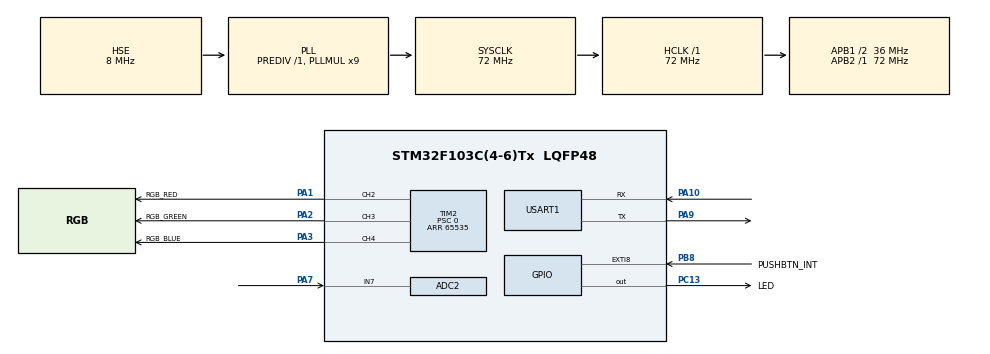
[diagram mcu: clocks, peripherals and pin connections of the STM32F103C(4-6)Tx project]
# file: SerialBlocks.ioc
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ADC1.Channel-2\#ChannelRegularConversion=ADC_CHANNEL_TEMPSENSOR
ADC1.ContinuousConvMode=ENABLE
ADC1.NbrOfConversionFlag=1
ADC1.Rank-2\#ChannelRegularConversion=1
ADC1.SamplingTime-2\#ChannelRegularConversion=ADC_SAMPLETIME_1CYCLE_5
ADC1.master=1
ADC2.Channel-0\#ChannelRegularConversion=ADC_CHANNEL_7
ADC2.ContinuousConvMode=ENABLE
ADC2.NbrOfConversionFlag=1
ADC2.Rank-0\#ChannelRegularConversion=1
ADC2.SamplingTime-0\#ChannelRegularConversion=ADC_SAMPLETIME_71CYCLES_5
Mcu.Family=STM32F1
Mcu.Name=STM32F103C(4-6)Tx
Mcu.Package=LQFP48
NVIC.EXTI9_5_IRQn=true\:0\:0\:false\:false\:true\:true\:true\:true
NVIC.PriorityGroup=NVIC_PRIORITYGROUP_4
NVIC.USART1_IRQn=true\:0\:0\:false\:false\:true\:true\:true\:true
PA1.GPIO_Label=RGB_RED
PA1.Signal=S_TIM2_CH2
PA10.Mode=Asynchronous
PA10.Signal=USART1_RX
PA13.Mode=Serial_Wire
PA13.Signal=SYS_JTMS-SWDIO
PA14.Mode=Serial_Wire
PA14.Signal=SYS_JTCK-SWCLK
PA2.GPIO_Label=RGB_GREEN
PA2.Signal=S_TIM2_CH3
PA3.GPIO_Label=RGB_BLUE
PA3.Signal=S_TIM2_CH4
PA7.Signal=ADCx_IN7
PA9.Mode=Asynchronous
PA9.Signal=USART1_TX
PB8.GPIO_Label=PUSHBTN_INT
PB8.GPIO_ModeDefaultEXTI=GPIO_MODE_IT_FALLING
PB8.Signal=GPXTI8
PC13-TAMPER-RTC.GPIO_Label=LED
PC13-TAMPER-RTC.Signal=GPIO_Output
PD0-OSC_IN.Mode=HSE-External-Oscillator
PD0-OSC_IN.Signal=RCC_OSC_IN
PD1-OSC_OUT.Mode=HSE-External-Oscillator
PD1-OSC_OUT.Signal=RCC_OSC_OUT
ProjectManager.HeapSize=0x200
ProjectManager.StackSize=0x400
ProjectManager.TargetToolchain=STM32CubeIDE
RCC.ADCPresc=RCC_ADCPCLK2_DIV6
RCC.AHBFreq_Value=72000000
RCC.APB1CLKDivider=RCC_HCLK_DIV2
RCC.APB1Freq_Value=36000000
RCC.APB1TimFreq_Value=72000000
RCC.APB2Freq_Value=72000000
RCC.APB2TimFreq_Value=72000000
RCC.HCLKFreq_Value=72000000
RCC.PLLMUL=RCC_PLL_MUL9
RCC.PLLSourceVirtual=RCC_PLLSOURCE_HSE
RCC.SYSCLKFreq_VALUE=72000000
RCC.SYSCLKSource=RCC_SYSCLKSOURCE_PLLCLK
RCC.USBFreq_Value=48000000
RCC.USBPrescaler=RCC_USBCLKSOURCE_PLL_DIV1_5
SH.ADCx_IN7.0=ADC2_IN7,IN7
SH.S_TIM2_CH2.0=TIM2_CH2,PWM Generation2 CH2
SH.S_TIM2_CH3.0=TIM2_CH3,PWM Generation3 CH3
SH.S_TIM2_CH4.0=TIM2_CH4,PWM Generation4 CH4
TIM2.AutoReloadPreload=TIM_AUTORELOAD_PRELOAD_ENABLE
TIM2.Channel-PWM\ Generation2\ CH2=TIM_CHANNEL_2
TIM2.Channel-PWM\ Generation3\ CH3=TIM_CHANNEL_3
TIM2.Channel-PWM\ Generation4\ CH4=TIM_CHANNEL_4
TIM2.Period=65535
TIM2.Prescaler=0
USART1.VirtualMode=VM_ASYNC
VP_ADC1_TempSens_Input.Mode=IN-TempSens
VP_TIM2_VS_ClockSourceINT.Mode=Internal
board=custom

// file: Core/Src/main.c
/* USER CODE BEGIN Header */

/* USER CODE END Header */
#include "main.h"

/* USER CODE BEGIN Includes */
#include <stdio.h>
#include <string.h>
/* USER CODE END Includes */

ADC_HandleTypeDef hadc1;
ADC_HandleTypeDef hadc2;

TIM_HandleTypeDef htim2;

UART_HandleTypeDef huart1;

/* USER CODE BEGIN PV */
char data_buffer[50]={0}; // data buffer
uint8_t UART1_rxBuffer;
uint32_t previousMillis = 0;
uint32_t currentMillis = 0;
int RED = 000;
int GREEN = 000;
int BLUE = 000;
int8_t count = 0; // count how many bytes are received
/* USER CODE END PV */

void SystemClock_Config(void);
static void MX_GPIO_Init(void);
static void MX_USART1_UART_Init(void);
static void MX_ADC1_Init(void);
static void MX_ADC2_Init(void);
static void MX_TIM2_Init(void);

/* USER CODE BEGIN 0 */
void toggleLedPin(void) {
  char ledStatusJSON[20]; // Adjust the size as per your requirement
  // Assuming you have defined appropriate macros or variables for
  // LED_GPIO_Port and LED_Pin
  int ledStatus = HAL_GPIO_ReadPin(LED_GPIO_Port, LED_Pin);
  snprintf(ledStatusJSON, sizeof(ledStatusJSON), "{\"LED\":%d}\r\n", ledStatus);

  // toggle pin
  HAL_GPIO_TogglePin(LED_GPIO_Port, LED_Pin);

  // Assuming you have defined huart1 and HAL_UART_Transmit correctly
  HAL_UART_Transmit(&huart1, (uint8_t *)ledStatusJSON, strlen(ledStatusJSON),
                    100);
}

/* USER CODE END 0 */

int main(void)
{

  /* MCU Configuration--------------------------------------------------------*/

  /* Reset of all peripherals, Initializes the Flash interface and the Systick. */
  HAL_Init();

  /* Configure the system clock */
  SystemClock_Config();

  /* Initialize all configured peripherals */
  MX_GPIO_Init();
  MX_USART1_UART_Init();
  MX_ADC1_Init();
  MX_ADC2_Init();
  MX_TIM2_Init();
  /* USER CODE BEGIN 2 */
  HAL_ADC_Start(&hadc1);
  HAL_ADC_Start(&hadc2);

  HAL_UART_Receive_IT(&huart1, &UART1_rxBuffer,
                      1); // receive data from data buffer interrupt mode
  // receive data from data buffer interrupt mode
  HAL_TIM_PWM_Start(&htim2, TIM_CHANNEL_2);
  HAL_TIM_PWM_Start(&htim2, TIM_CHANNEL_3);
  HAL_TIM_PWM_Start(&htim2, TIM_CHANNEL_4);
  /* USER CODE BEGIN 2 */

  /* USER CODE END 2 */

  /* Infinite loop */
  /* USER CODE BEGIN WHILE */
  while (1) {

    HAL_ADC_PollForConversion(&hadc1, 100);
    HAL_ADC_PollForConversion(&hadc2, 100);

    int interval = 1000;
    uint8_t tempValue = HAL_ADC_GetValue(&hadc1);
    uint8_t brightness = HAL_ADC_GetValue(&hadc2);
    float processorTemp = (357.558 - 0.187364 * tempValue) / 10.0;
    char sentBuff[65];

	// send processorTemp
    snprintf(sentBuff, sizeof(sentBuff),
    	"{"
             "\"processorTemp\": {"
             "\"value\": %.4f,"
             " \"interval\": %d"
             "}"
         "}"
             "\r\n", processorTemp, interval);

// use strlen instead of sizeof while using hal_uart_transmit as it sends rubbish values on the remaining space
    HAL_UART_Transmit(&huart1, (uint8_t *)sentBuff, strlen(sentBuff), 100);

	// send brightness
    snprintf(sentBuff, sizeof(sentBuff),
    	"{"
             "\"brightness\": {"
             "\"value\": %d,"
             " \"interval\": %d"
             "}"
         "}"
             "\r\n", brightness, interval);
    HAL_UART_Transmit(&huart1, (uint8_t *)sentBuff, strlen(sentBuff), 100);
    HAL_Delay(interval);
  }

    /* USER CODE END WHILE */

}

void SystemClock_Config(void)
{
  RCC_OscInitTypeDef RCC_OscInitStruct = {0};
  RCC_ClkInitTypeDef RCC_ClkInitStruct = {0};
  RCC_PeriphCLKInitTypeDef PeriphClkInit = {0};

  /** Initializes the RCC Oscillators according to the specified parameters
  * in the RCC_OscInitTypeDef structure.
  */
  RCC_OscInitStruct.OscillatorType = RCC_OSCILLATORTYPE_HSE;
  RCC_OscInitStruct.HSEState = RCC_HSE_ON;
  RCC_OscInitStruct.HSEPredivValue = RCC_HSE_PREDIV_DIV1;
  RCC_OscInitStruct.HSIState = RCC_HSI_ON;
  RCC_OscInitStruct.PLL.PLLState = RCC_PLL_ON;
  RCC_OscInitStruct.PLL.PLLSource = RCC_PLLSOURCE_HSE;
  RCC_OscInitStruct.PLL.PLLMUL = RCC_PLL_MUL9;
  if (HAL_RCC_OscConfig(&RCC_OscInitStruct) != HAL_OK)
  {
    Error_Handler();
  }

  /** Initializes the CPU, AHB and APB buses clocks
  */
  RCC_ClkInitStruct.ClockType = RCC_CLOCKTYPE_HCLK|RCC_CLOCKTYPE_SYSCLK
                              |RCC_CLOCKTYPE_PCLK1|RCC_CLOCKTYPE_PCLK2;
  RCC_ClkInitStruct.SYSCLKSource = RCC_SYSCLKSOURCE_PLLCLK;
  RCC_ClkInitStruct.AHBCLKDivider = RCC_SYSCLK_DIV1;
  RCC_ClkInitStruct.APB1CLKDivider = RCC_HCLK_DIV2;
  RCC_ClkInitStruct.APB2CLKDivider = RCC_HCLK_DIV1;

  if (HAL_RCC_ClockConfig(&RCC_ClkInitStruct, FLASH_LATENCY_2) != HAL_OK)
  {
    Error_Handler();
  }
  PeriphClkInit.PeriphClockSelection = RCC_PERIPHCLK_ADC;
  PeriphClkInit.AdcClockSelection = RCC_ADCPCLK2_DIV6;
  if (HAL_RCCEx_PeriphCLKConfig(&PeriphClkInit) != HAL_OK)
  {
    Error_Handler();
  }
}

static void MX_ADC1_Init(void)
{

  ADC_ChannelConfTypeDef sConfig = {0};

  /** Common config
  */
  hadc1.Instance = ADC1;
  hadc1.Init.ScanConvMode = ADC_SCAN_DISABLE;
  hadc1.Init.ContinuousConvMode = ENABLE;
  hadc1.Init.DiscontinuousConvMode = DISABLE;
  hadc1.Init.ExternalTrigConv = ADC_SOFTWARE_START;
  hadc1.Init.DataAlign = ADC_DATAALIGN_RIGHT;
  hadc1.Init.NbrOfConversion = 1;
  if (HAL_ADC_Init(&hadc1) != HAL_OK)
  {
    Error_Handler();
  }

  /** Configure Regular Channel
  */
  sConfig.Channel = ADC_CHANNEL_TEMPSENSOR;
  sConfig.Rank = ADC_REGULAR_RANK_1;
  sConfig.SamplingTime = ADC_SAMPLETIME_1CYCLE_5;
  if (HAL_ADC_ConfigChannel(&hadc1, &sConfig) != HAL_OK)
  {
    Error_Handler();
  }

}

static void MX_ADC2_Init(void)
{

  ADC_ChannelConfTypeDef sConfig = {0};

  /** Common config
  */
  hadc2.Instance = ADC2;
  hadc2.Init.ScanConvMode = ADC_SCAN_DISABLE;
  hadc2.Init.ContinuousConvMode = ENABLE;
  hadc2.Init.DiscontinuousConvMode = DISABLE;
  hadc2.Init.ExternalTrigConv = ADC_SOFTWARE_START;
  hadc2.Init.DataAlign = ADC_DATAALIGN_RIGHT;
  hadc2.Init.NbrOfConversion = 1;
  if (HAL_ADC_Init(&hadc2) != HAL_OK)
  {
    Error_Handler();
  }

  /** Configure Regular Channel
  */
  sConfig.Channel = ADC_CHANNEL_7;
  sConfig.Rank = ADC_REGULAR_RANK_1;
  sConfig.SamplingTime = ADC_SAMPLETIME_71CYCLES_5;
  if (HAL_ADC_ConfigChannel(&hadc2, &sConfig) != HAL_OK)
  {
    Error_Handler();
  }

}

static void MX_TIM2_Init(void)
{

  TIM_ClockConfigTypeDef sClockSourceConfig = {0};
  TIM_MasterConfigTypeDef sMasterConfig = {0};
  TIM_OC_InitTypeDef sConfigOC = {0};

  htim2.Instance = TIM2;
  htim2.Init.Prescaler = 0;
  htim2.Init.CounterMode = TIM_COUNTERMODE_UP;
  htim2.Init.Period = 65535;
  htim2.Init.ClockDivision = TIM_CLOCKDIVISION_DIV1;
  htim2.Init.AutoReloadPreload = TIM_AUTORELOAD_PRELOAD_ENABLE;
  if (HAL_TIM_Base_Init(&htim2) != HAL_OK)
  {
    Error_Handler();
  }
  sClockSourceConfig.ClockSource = TIM_CLOCKSOURCE_INTERNAL;
  if (HAL_TIM_ConfigClockSource(&htim2, &sClockSourceConfig) != HAL_OK)
  {
    Error_Handler();
  }
  if (HAL_TIM_PWM_Init(&htim2) != HAL_OK)
  {
    Error_Handler();
  }
  sMasterConfig.MasterOutputTrigger = TIM_TRGO_RESET;
  sMasterConfig.MasterSlaveMode = TIM_MASTERSLAVEMODE_DISABLE;
  if (HAL_TIMEx_MasterConfigSynchronization(&htim2, &sMasterConfig) != HAL_OK)
  {
    Error_Handler();
  }
  sConfigOC.OCMode = TIM_OCMODE_PWM1;
  sConfigOC.Pulse = 0;
  sConfigOC.OCPolarity = TIM_OCPOLARITY_HIGH;
  sConfigOC.OCFastMode = TIM_OCFAST_DISABLE;
  if (HAL_TIM_PWM_ConfigChannel(&htim2, &sConfigOC, TIM_CHANNEL_2) != HAL_OK)
  {
    Error_Handler();
  }
  if (HAL_TIM_PWM_ConfigChannel(&htim2, &sConfigOC, TIM_CHANNEL_3) != HAL_OK)
  {
    Error_Handler();
  }
  if (HAL_TIM_PWM_ConfigChannel(&htim2, &sConfigOC, TIM_CHANNEL_4) != HAL_OK)
  {
    Error_Handler();
  }
  HAL_TIM_MspPostInit(&htim2);

}

static void MX_USART1_UART_Init(void)
{

  huart1.Instance = USART1;
  huart1.Init.BaudRate = 115200;
  huart1.Init.WordLength = UART_WORDLENGTH_8B;
  huart1.Init.StopBits = UART_STOPBITS_1;
  huart1.Init.Parity = UART_PARITY_NONE;
  huart1.Init.Mode = UART_MODE_TX_RX;
  huart1.Init.HwFlowCtl = UART_HWCONTROL_NONE;
  huart1.Init.OverSampling = UART_OVERSAMPLING_16;
  if (HAL_UART_Init(&huart1) != HAL_OK)
  {
    Error_Handler();
  }

}

static void MX_GPIO_Init(void)
{
  GPIO_InitTypeDef GPIO_InitStruct = {0};

  /* GPIO Ports Clock Enable */
  __HAL_RCC_GPIOC_CLK_ENABLE();
  __HAL_RCC_GPIOD_CLK_ENABLE();
  __HAL_RCC_GPIOA_CLK_ENABLE();
  __HAL_RCC_GPIOB_CLK_ENABLE();

  /*Configure GPIO pin Output Level */
  HAL_GPIO_WritePin(LED_GPIO_Port, LED_Pin, GPIO_PIN_RESET);

  /*Configure GPIO pin : LED_Pin */
  GPIO_InitStruct.Pin = LED_Pin;
  GPIO_InitStruct.Mode = GPIO_MODE_OUTPUT_PP;
  GPIO_InitStruct.Pull = GPIO_NOPULL;
  GPIO_InitStruct.Speed = GPIO_SPEED_FREQ_LOW;
  HAL_GPIO_Init(LED_GPIO_Port, &GPIO_InitStruct);

  /*Configure GPIO pin : PUSHBTN_INT_Pin */
  GPIO_InitStruct.Pin = PUSHBTN_INT_Pin;
  GPIO_InitStruct.Mode = GPIO_MODE_IT_FALLING;
  GPIO_InitStruct.Pull = GPIO_NOPULL;
  HAL_GPIO_Init(PUSHBTN_INT_GPIO_Port, &GPIO_InitStruct);

  /* EXTI interrupt init*/
  HAL_NVIC_SetPriority(EXTI9_5_IRQn, 0, 0);
  HAL_NVIC_EnableIRQ(EXTI9_5_IRQn);

}

/* USER CODE BEGIN 4 */
void HAL_GPIO_EXTI_Callback(uint16_t GPIO_Pin) {
  currentMillis = HAL_GetTick();

  if (GPIO_Pin == PUSHBTN_INT_Pin &&
      (currentMillis - previousMillis >
       200)) // If The INT Source Is EXTI Line4 (B4 Pin)
  {
    toggleLedPin();
    previousMillis = currentMillis;
  }
}
// void HAL_UART_TxCpltCallback(UART_HandleTypeDef *huart)
//{
//     clear_buffer(data_buffer, count);
// }
void HAL_UART_RxCpltCallback(UART_HandleTypeDef *huart) {
	/*
	 * CR \r not followed by LF \n 			[Classic Mac OS (before 10.0)]
	 * LF \n that doesn't come after \r 	[Unix (and macOS starting with Mac OS X 10.0)]
	 * \r\n CR AND CF together 				[WINDOWS]
	 *  (		 (data_buffer[count-1]=='\r' && UART1_rxBuffer == '\n')
		  || (data_buffer[count-1]=='\r' && UART1_rxBuffer != '\n')
		  || (data_buffer[count-1]!='\r' && UART1_rxBuffer == '\n') 	)
	 * */
  if ( (UART1_rxBuffer == '\r' || UART1_rxBuffer == '\n') ) {

    data_buffer[count++] = '\0';
    // transmits back what had been written on port
    char sentBuff[60];
    sprintf(sentBuff, "%s\r\n", data_buffer);
    HAL_UART_Transmit(&huart1, (uint8_t *)sentBuff, strlen(sentBuff), 100);

    if (strncmp(data_buffer, "RGB_", 4) == 0) {
    	sscanf( data_buffer, "RGB_%d_%d_%d",&RED, &GREEN, &BLUE);
// as it's common anode
      TIM2->CCR2 = (65535 - RED * 255);
      TIM2->CCR3 = (65535 - GREEN * 255);
      TIM2->CCR4 = (65535 - BLUE * 255);
    }
    else if (strcmp(data_buffer, "LED_TOGGLE") == 0) {
      toggleLedPin();
    }
    memset(data_buffer, 0, count);
    count = 0;
  } else {
    data_buffer[count++] = UART1_rxBuffer; // every time when interrput is
  }
  // start next data receive interrupt

  HAL_UART_Receive_IT(&huart1, &UART1_rxBuffer, 1);
}
/* USER CODE END 4 */

void Error_Handler(void)
{
}
